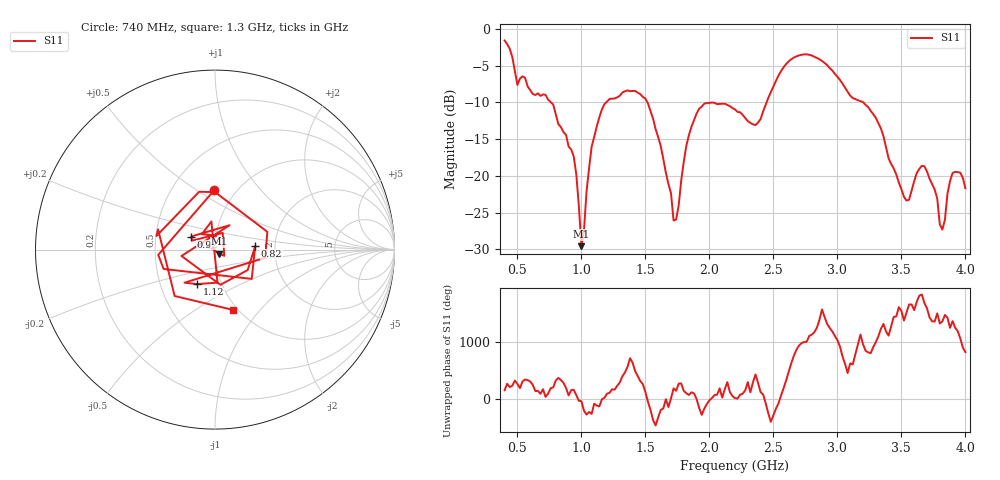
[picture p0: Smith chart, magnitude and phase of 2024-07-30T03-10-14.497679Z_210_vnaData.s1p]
!Created with skrf (http://scikit-rf.org).
# Hz S RI R 50.0
!freq ReS11 ImS11
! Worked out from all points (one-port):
!   181 points, 400 MHz to 4 GHz, reference 50 ohm
!   lowest |S11| = -29.6 dB at 1 GHz (marker M1), VSWR 1.07, Z = 52.5 - j2.34 ohm
!   |S11| at or under -10 dB: 762.4 MHz to 1.193 GHz (431.1 MHz wide, 44.1 % of centre); 1.516 GHz to 2.446 GHz (930.3 MHz wide, 47 % of centre); 3.203 GHz to end of sweep
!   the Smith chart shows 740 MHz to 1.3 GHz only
!   S11 on the Smith chart (normalised r, x): 740 MHz: 0.80, +0.59; 820 MHz: 1.58, +0.07; 920 MHz: 0.76, +0.11; 1.12 GHz: 0.76, -0.31; 1.3 GHz: 0.95, -0.73
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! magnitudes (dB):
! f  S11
! 400 MHz  -1.6
! 500 MHz  -7.6
! 740 MHz  -9.6
! 820 MHz  -13.0
! 860 MHz  -14.0
! 920 MHz  -16.4
! 960 MHz  -19.8
! 1 GHz  -29.6
! 1.08 GHz  -16.0
! 1.12 GHz  -13.3
! 1.3 GHz  -9.1
! 1.52 GHz  -10.1
! 1.62 GHz  -15.9
! 1.72 GHz  -26.1
! 1.76 GHz  -24.0
! 1.82 GHz  -15.9
! 1.92 GHz  -10.9
! 2.2 GHz  -10.9
! 2.36 GHz  -13.1
! 2.66 GHz  -3.9
! 2.86 GHz  -4.1
! 3.1 GHz  -9.1
! 3.3 GHz  -12.1
! 3.56 GHz  -23.2
! 3.68 GHz  -18.7
! 3.82 GHz  -27.3
! 3.9 GHz  -19.6
! 4 GHz  -21.7
